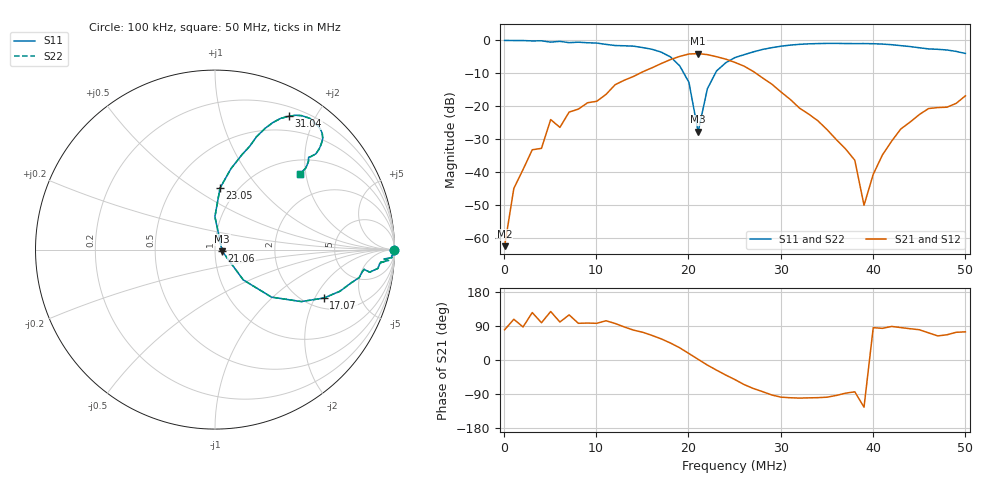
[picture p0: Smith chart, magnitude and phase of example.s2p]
! Converted Bode file - 2021-05-17 15:47:11
! BodeAnalyzerSuite Version: 3.24.2014
[Version] 2.0
# MHz S DB R 50
[Number of Ports]  2
[Two-Port Data Order] 21_12
!freq  dBS11  angS11  dBS21  angS21  dBS12  angS12  dBS22  angS22
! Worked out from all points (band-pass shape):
!   51 points, 100 kHz to 50 MHz, reference 50 ohm
!   highest |S21| = -4.01 dB at 21.06 MHz (marker M1); lowest = -62.6 dB at 100 kHz (marker M2)
!   |S21| within 3 dB of the highest: 17.08 MHz to 25.32 MHz (8.246 MHz wide, 38.9 % of centre)
!   lowest |S11| = -27.8 dB at 21.06 MHz (marker M3), VSWR 1.08, Z = 54.1 - j0.948 ohm
!   |S11| at or under -10 dB: 19.52 MHz to 22.92 MHz (3.406 MHz wide, 16 % of centre)
!   |S22| runs from -27.8 to 0.0 dB; largest |S21 - S12| = 0
!   S11 on the Smith chart (normalised r, x): 100 kHz: open; 17.07 MHz: 2.46, -2.37; 21.06 MHz: 1.08, -0.02; 23.05 MHz: 0.83, +0.64; 31.04 MHz: 0.31, +1.66; 50 MHz: 1.32, +1.85
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[Number of Frequencies] 22
[Network Data]
0.1  -0.00 -0.1  -62.61 79.7  -62.61 79.7  -0.00 -0.1
1.098  -0.02 -0.7  -45.02 107.4  -45.02 107.4  -0.02 -0.7
3.094  -0.14 -2.1  -33.27 125.2  -33.27 125.2  -0.14 -2.1
4.092  -0.11 -2.6  -32.84 98.3  -32.84 98.3  -0.11 -2.6
5.09  -0.51 -3.2  -24.08 128.0  -24.08 128.0  -0.51 -3.2
6.088  -0.28 -3.6  -26.46 100.2  -26.46 100.2  -0.28 -3.6
9.082  -0.70 -4.7  -18.97 97.5  -18.97 97.5  -0.70 -4.7
12.076  -1.54 -7.5  -13.46 96.3  -13.46 96.3  -1.54 -7.5
17.066  -3.56 -24.0  -7.02 55.7  -7.02 55.7  -3.56 -24.0
20.06  -12.73 -47.0  -4.12 17.1  -4.12 17.1  -12.73 -47.0
21.058  -27.81 -12.4  -4.01 1.8  -4.01 1.8  -27.81 -12.4
22.056  -14.73 90.1  -4.31 -13.3  -4.31 -13.3  -14.73 90.1
23.054  -9.28 85.3  -4.95 -26.8  -4.95 -26.8  -9.28 85.3
25.05  -5.20 74.1  -6.69 -51.8  -6.69 -51.8  -5.20 74.1
31.038  -1.42 61.0  -17.95 -99.6  -17.95 -99.6  -1.42 61.0
34.032  -0.95 55.5  -24.46 -99.4  -24.46 -99.4  -0.95 55.5
38.024  -0.95 51.0  -36.45 -83.9  -36.45 -83.9  -0.95 51.0
39.022  -0.95 50.0  -50.16 -124.4  -50.16 -124.4  -0.95 50.0
40.02  -1.00 48.8  -40.74 85.2  -40.74 85.2  -1.00 48.8
42.016  -1.30 45.8  -30.65 88.6  -30.65 88.6  -1.30 45.8
46.008  -2.58 44.2  -20.73 71.7  -20.73 71.7  -2.58 44.2
50  -3.96 41.7  -16.85 74.3  -16.85 74.3  -3.96 41.7
[End]
